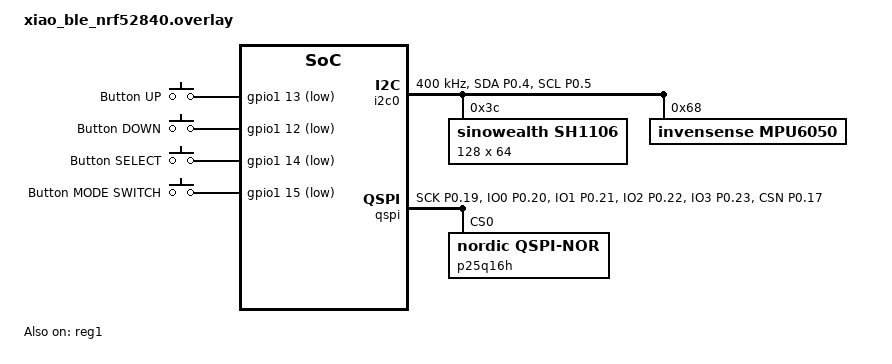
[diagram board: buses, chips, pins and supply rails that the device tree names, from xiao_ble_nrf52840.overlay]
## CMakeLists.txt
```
cmake_minimum_required(VERSION 3.20.0)
find_package(Zephyr REQUIRED HINTS $ENV{ZEPHYR_BASE})

project(FitBoyMk3)

target_sources(app PRIVATE src/main.c)
add_subdirectory(lib/btManager)
add_subdirectory(lib/fonts)
add_subdirectory(lib/mainMenu)
add_subdirectory(lib/settings)
add_subdirectory(lib/buttons)
add_subdirectory(lib/appManager)
add_subdirectory(lib/notifications)
add_subdirectory(lib/utils)
add_subdirectory(lib/musicControl)
add_subdirectory(lib)
```

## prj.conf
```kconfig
CONFIG_BT=y
CONFIG_BT_PERIPHERAL=y
CONFIG_BT_SMP=y
CONFIG_BT_PERIPHERAL_PREF_MAX_INT=6
CONFIG_BT_PERIPHERAL_PREF_MIN_INT=6
CONFIG_BT_DEVICE_NAME="FitBoyMk3"

CONFIG_POWEROFF=y
CONFIG_REBOOT=y
CONFIG_PM=y
CONFIG_WATCHDOG=y
CONFIG_PM_DEVICE=y
CONFIG_PM_DEVICE_RUNTIME=y
CONFIG_PM_DEVICE_LOG_LEVEL_DBG=y

CONFIG_POSIX_API=y

CONFIG_GPIO=y
CONFIG_INPUT=y
CONFIG_INPUT_GPIO_KEYS=y

CONFIG_SYSTEM_WORKQUEUE_PRIORITY=-2

CONFIG_I2C=y
CONFIG_DISPLAY=y

CONFIG_MAIN_STACK_SIZE=8192
CONFIG_HEAP_MEM_POOL_SIZE=16384
CONFIG_SYS_HEAP_RUNTIME_STATS=y
CONFIG_LV_Z_VDB_SIZE=100

CONFIG_SSD1306=y
CONFIG_LVGL=y
#CONFIG_LV_Z_MEMORY_POOL_CUSTOM_SECTION=n
#CONFIG_LV_CONF_MINIMAL=y
#CONFIG_LV_USE_LABEL=y

CONFIG_LV_DEF_REFR_PERIOD=5
CONFIG_LV_Z_MEM_POOL_SIZE=98304

CONFIG_LV_COLOR_DEPTH_1=y

CONFIG_UDC_BUF_POOL_SIZE=8192
CONFIG_UDC_NRF_THREAD_STACK_SIZE=8192

CONFIG_SENSOR=y
#CONFIG_MPU9250=y
CONFIG_MPU6050=y

CONFIG_FLASH=y
CONFIG_NORDIC_QSPI_NOR=y
CONFIG_REGULATOR=y

CONFIG_LOG=y
CONFIG_CONSOLE=y
CONFIG_UART_CONSOLE=y
CONFIG_SERIAL=y

CONFIG_LV_USE_LOG=y
CONFIG_LV_LOG_LEVEL_INFO=y
CONFIG_LV_LOG_LEVEL_WARN=y
CONFIG_LV_LOG_LEVEL_ERROR=y
CONFIG_LV_LOG_TRACE_MEM=y
CONFIG_LOG_MODE_IMMEDIATE=y
#CONFIG_LV_Z_SHELL=y

#CONFIG_SHELL=y
#CONFIG_KERNEL_SHELL=y
#CONFIG_INIT_STACKS=y
#CONFIG_THREAD_MONITOR=y
#CONFIG_SYS_HEAP_RUNTIME_STATS=y

CONFIG_LV_LOG_LEVEL_INFO=y
CONFIG_LV_LOG_LEVEL_WARN=y
CONFIG_LV_LOG_LEVEL_ERROR=y
CONFIG_SENSOR_LOG_LEVEL_DBG=y
CONFIG_GPIO_LOG_LEVEL_DBG=y
```

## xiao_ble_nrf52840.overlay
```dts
// To get started, press Ctrl+Space to bring up the completion menu and view the available nodes.

// You can also use the buttons in the sidebar to perform actions on nodes.
// Actions currently available include:

// * Enabling / disabling the node
// * Adding the bus to a bus
// * Removing the node
// * Connecting ADC channels

// For more help, browse the DeviceTree documentation at https://docs.zephyrproject.org/latest/guides/dts/index.html
// You can also visit the nRF DeviceTree extension documentation at https://docs.nordicsemi.com/bundle/nrf-connect-vscode/page/guides/ncs_configure_app.html#devicetree-support-in-the-extension

/ {
    chosen {
        zephyr,display = &sh1106;
    };
};

&spi2 {
    status = "disabled";
};


/{
    gpio-keys {
        compatible = "gpio-keys";
        debounce-interval-ms = <30>;

        button_up: button_up {
            gpios = <&gpio1 13 (GPIO_ACTIVE_LOW | GPIO_PULL_UP)>;
            zephyr,code = <INPUT_KEY_UP>;
            label = "Button UP";
        };
        button_down: button_down {
            gpios = <&gpio1 12 (GPIO_ACTIVE_LOW | GPIO_PULL_UP)>;
            zephyr,code = <INPUT_KEY_DOWN>;
            label = "Button DOWN";
        };
        button_select: button_select {
            gpios = <&gpio1 14 (GPIO_ACTIVE_LOW | GPIO_PULL_UP)>;
            zephyr,code = <INPUT_KEY_ENTER>;
            label = "Button SELECT";
        };
        button_modeswitch: button_modeswitch {
            gpios = <&gpio1 15 (GPIO_ACTIVE_LOW | GPIO_PULL_UP)>;
            zephyr,code = <INPUT_KEY_MENU>;
            label = "Button MODE SWITCH";
        };
    };

    aliases 
    {
        up = &button_up;
        down = &button_down;
        select = &button_select;
        mode = &button_modeswitch;
    };
};

&pinctrl {
    i2c0_default: i2c0_default {
        group1 {
            psels = <NRF_PSEL(TWIM_SDA, 0, 4)>, 
                    <NRF_PSEL(TWIM_SCL, 0, 5)>;
            bias-pull-up;
        };
    };

    i2c0_sleep: i2c0_sleep {
        group1 {
            psels = <NRF_PSEL(TWIM_SDA, 0, 4)>,
                    <NRF_PSEL(TWIM_SCL, 0, 5)>;
            bias-pull-up;
        };
    };
};

&i2c0 {
    compatible = "nordic,nrf-twim";
    status = "okay";
    
    pinctrl-0 = <&i2c0_default>;
    pinctrl-1 = <&i2c0_sleep>;
    pinctrl-names = "default", "sleep";
    zephyr,concat-buf-size = < 4096 >;
    zephyr,flash-buf-max-size = < 4096 >;
    clock-frequency = <I2C_BITRATE_FAST>;

    sh1106: sh1106@3c {
        compatible = "sinowealth,sh1106";
        reg = <0x3c>;
        width = <128>;
        height = <64>;
        segment-offset = <2>;
        page-offset = <0>;
        display-offset = <0>;
        multiplex-ratio = <63>;
        prechargep = <0x22>;
        inversion-on;
        segment-remap;
        com-invdir;
        status = "okay";
    };

    mpu6050: mpu6050@68 {
        compatible = "invensense,mpu6050";
        reg = <0x68>;
        status = "okay";
        gyro-fs = <250>;         /* Full Scale: 250, 500, 1000, 2000 dps */
        accel-fs = <2>;          /* Full Scale: 2, 4, 8, 16 g */
    };
};

&reg1 {
    regulator-initial-mode = <NRF5X_REG_MODE_DCDC>;
    status = "okay";
};

&pinctrl {
    qspi_default: qspi_default {
        group1 {
            psels = <NRF_PSEL(QSPI_SCK, 0, 19)>,
                    <NRF_PSEL(QSPI_IO0, 0, 20)>,
                    <NRF_PSEL(QSPI_IO1, 0, 21)>,
                    <NRF_PSEL(QSPI_IO2, 0, 22)>,
                    <NRF_PSEL(QSPI_IO3, 0, 23)>,
                    <NRF_PSEL(QSPI_CSN, 0, 17)>;
        };
    };

    qspi_sleep: qspi_sleep {
        group1 {
            psels = <NRF_PSEL(QSPI_SCK, 0, 19)>,
                    <NRF_PSEL(QSPI_IO0, 0, 20)>,
                    <NRF_PSEL(QSPI_IO1, 0, 21)>,
                    <NRF_PSEL(QSPI_IO2, 0, 22)>,
                    <NRF_PSEL(QSPI_IO3, 0, 23)>,
                    <NRF_PSEL(QSPI_CSN, 0, 17)>;
            low-power-enable;
        };
    };
};

&qspi {
    status = "okay";
    pinctrl-0 = <&qspi_default>;
    pinctrl-1 = <&qspi_sleep>;
    pinctrl-names = "default", "sleep";

    p25q16h: p25q16h@0 {
        compatible = "nordic,qspi-nor";
        reg = <0>;
        /* P25Q16H specific settings */
        writeoc = "pp4io";
        readoc = "read4io";
        sck-frequency = <8000000>;
        jedec-id = [85 60 15];
        size = <16777216>;
        has-dpd;
        t-enter-dpd = <3000>;
        t-exit-dpd = <30000>;
    };
};
```

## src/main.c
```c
#include <zephyr/kernel.h>
#include <zephyr/device.h>
#include <zephyr/devicetree.h>
#include <zephyr/pm/device.h>

#include <zephyr/drivers/display.h>
#include <zephyr/drivers/i2c.h>
#include <zephyr/drivers/watchdog.h>

#include <utils.h>
#include <appBasic.h>
#include <appIncludes.h>

int main(void)
{
        printk("FitBoy Mk.3\n");
        k_sleep(K_SECONDS(1));
        int wdtChannelID;

        const struct device* wdt = DEVICE_DT_GET(DT_NODELABEL(wdt0));
        if (!device_is_ready(wdt)) 
        {
                printk("Watchdog device not ready");
        }
        else
        {
                printk("Watchdog device is ready\n");
                wdtChannelID = wdt_install_timeout(wdt, &(struct wdt_timeout_cfg)
                {
                        .window.min = 0,
                        .window.max = 5000,
                        .callback = NULL,
                        .flags = WDT_FLAG_RESET_SOC
                });
                wdt_setup(wdt, WDT_OPT_PAUSE_HALTED_BY_DBG);
        }

        const struct device *display;
        display = DEVICE_DT_GET(DT_CHOSEN(zephyr_display));
        const struct device* mpu = DEVICE_DT_GET(DT_NODELABEL(mpu6050));
        const struct device* i2c_bus = DEVICE_DT_GET(DT_NODELABEL(i2c0));
 
        BTSetup();
        
        if (!device_is_ready(display) || !device_is_ready(mpu)) 
        {
                printk("Device not ready");
        }
        
        else
        {
                printk("Device is ready\n");
        }
        
        display_set_contrast(display, 32);

        int x = 0;
        uint8_t mpu_sleep_cmd[] = {0x6B, 0x40}; 
        x = i2c_write(i2c_bus, mpu_sleep_cmd, sizeof(mpu_sleep_cmd), 0x68);
        printk("MPU sleep command write returned %d\n", x);

        const struct device *flash_dev = DEVICE_DT_GET(DT_NODELABEL(p25q16h));
        pm_device_action_run(flash_dev, PM_DEVICE_ACTION_SUSPEND);

        buttonInit();
        
        App apps[] = {mainMenuApp, notificationViewerApp, musicControlApp, settingsApp};
        AppManagerSetup(apps, 4);

        while(1)
        {
                //print_heap_stats();
                //print_lvgl_heap_usage();
                wdt_feed(wdt, wdtChannelID);
                k_sleep(K_SECONDS(2));
        }
        return 0;
}
```
